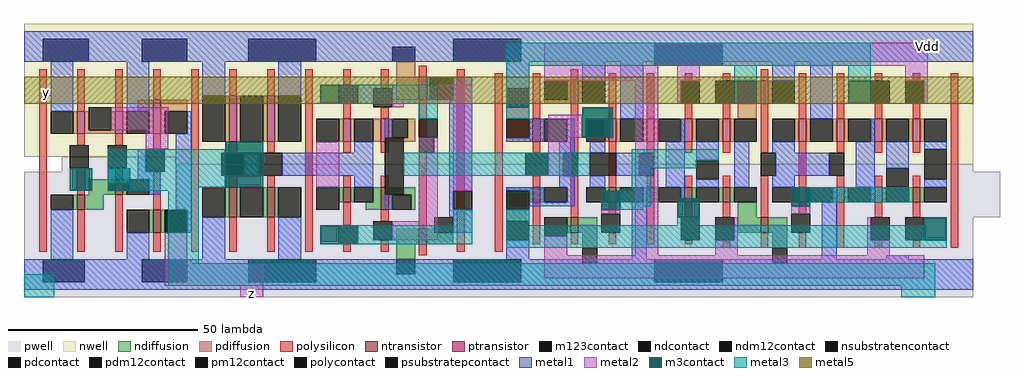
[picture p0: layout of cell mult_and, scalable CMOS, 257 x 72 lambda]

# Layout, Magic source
magic
tech scmos
<< metal1 >>
rect 247 70 487 78
rect 474 18 480 19
rect 247 10 487 18
<< ndm12contact >>
rect 284 25 290 31
<< metal2 >>
rect 284 18 290 25
rect 284 17 291 18
rect 284 11 310 17
rect 304 8 310 11
<< metal3 >>
rect 269 38 300 47
rect 275 37 300 38
rect 275 36 293 37
rect 285 17 293 36
rect 247 8 255 14
rect 285 11 487 17
rect 478 8 487 11
<< metal5 >>
rect 247 59 497 66
use and  and_0
transform 1 0 251 0 1 6
box -4 2 46 74
use inputff  inputff_0
transform -1 0 421 0 1 130
box -83 -122 134 -50
<< labels >>
rlabel metal5 253 62 253 62 1 y
rlabel metal2 307 9 307 9 1 z
rlabel metal1 485 74 485 74 7 Vdd
<< end >>

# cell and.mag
magic
tech scmos
<< nwell >>
rect -4 39 46 74
<< pwell >>
rect 6 37 36 39
rect 6 35 46 37
rect -4 2 46 35
<< ntransistor >>
rect 20 29 22 33
rect 10 25 12 29
rect 30 19 32 25
<< ptransistor >>
rect 10 45 12 51
rect 20 45 22 51
rect 30 45 32 54
<< ndiffusion >>
rect 13 29 20 33
rect 22 29 23 33
rect 9 25 10 29
rect 12 25 17 29
rect 29 19 30 25
rect 32 19 33 25
<< pdiffusion >>
rect 9 45 10 51
rect 12 46 13 51
rect 26 51 30 54
rect 19 46 20 51
rect 12 45 20 46
rect 22 45 23 51
rect 29 45 30 51
rect 32 51 39 54
rect 32 45 33 51
<< ndcontact >>
rect 23 29 29 33
rect 3 25 9 29
rect 23 19 29 25
rect 33 19 39 25
<< pdcontact >>
rect 3 45 9 51
rect 23 45 29 51
rect 33 45 39 51
<< psubstratepcontact >>
rect 1 6 12 12
rect 27 6 39 12
<< nsubstratencontact >>
rect 1 64 13 70
rect 27 64 39 70
<< polysilicon >>
rect 0 14 2 62
rect 10 51 12 62
rect 20 51 22 62
rect 30 54 32 62
rect 10 42 12 45
rect 20 42 22 45
rect 30 41 32 45
rect 10 29 12 36
rect 20 33 22 36
rect 10 14 12 25
rect 20 14 22 29
rect 30 25 32 35
rect 30 14 32 19
rect 40 14 42 62
<< metal1 >>
rect 0 70 42 72
rect 0 64 1 70
rect 13 64 27 70
rect 39 64 42 70
rect 3 51 9 64
rect 23 51 29 64
rect 39 45 40 51
rect 26 35 28 41
rect 26 33 32 35
rect 29 29 32 33
rect 36 25 40 45
rect 3 12 9 25
rect 39 19 40 25
rect 23 12 29 19
rect 0 6 1 12
rect 12 6 27 12
rect 39 6 42 12
rect 0 4 42 6
<< pm12contact >>
rect 8 36 13 42
rect 18 36 23 42
rect 28 35 33 41
<< pdm12contact >>
rect 13 46 19 52
<< metal2 >>
rect 19 46 34 52
rect 28 41 34 46
<< m3contact >>
rect 8 30 14 36
rect 18 30 24 36
<< labels >>
rlabel nsubstratencontact 3 68 3 68 4 Vdd
rlabel psubstratepcontact 3 8 3 8 2 Gnd
rlabel m3contact 11 33 11 33 1 and_a
rlabel m3contact 21 33 21 33 1 and_b
<< end >>

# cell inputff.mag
magic
tech scmos
<< nwell >>
rect -76 -87 134 -50
<< pwell >>
rect -76 -89 134 -87
rect -83 -101 134 -89
rect -76 -122 134 -101
<< ntransistor >>
rect -62 -97 -60 -93
rect -52 -97 -50 -93
rect -42 -97 -40 -93
rect -32 -97 -30 -93
rect -12 -97 -10 -93
rect -2 -97 0 -93
rect 8 -97 10 -93
rect 18 -97 20 -93
rect -22 -105 -20 -101
rect 38 -97 40 -93
rect 28 -105 30 -101
rect 78 -99 80 -93
rect 88 -97 90 -93
rect 68 -108 70 -104
rect 108 -101 110 -93
rect 118 -101 120 -93
<< ptransistor >>
rect -22 -71 -20 -65
rect -62 -81 -60 -75
rect -52 -81 -50 -75
rect -42 -81 -40 -75
rect -32 -81 -30 -75
rect 28 -71 30 -65
rect -12 -81 -10 -75
rect -2 -81 0 -75
rect 8 -81 10 -75
rect 18 -81 20 -75
rect 38 -81 40 -75
rect 68 -70 70 -64
rect 78 -81 80 -75
rect 88 -81 90 -75
rect 108 -81 110 -69
rect 118 -81 120 -69
<< ndiffusion >>
rect -63 -97 -62 -93
rect -60 -97 -59 -93
rect -53 -97 -52 -93
rect -50 -97 -49 -93
rect -43 -97 -42 -93
rect -40 -97 -39 -93
rect -33 -97 -32 -93
rect -30 -97 -29 -93
rect -13 -97 -12 -93
rect -10 -97 -9 -93
rect -3 -97 -2 -93
rect 0 -97 1 -93
rect 7 -97 8 -93
rect 10 -97 11 -93
rect 17 -97 18 -93
rect 20 -97 21 -93
rect -19 -101 -14 -97
rect -27 -105 -22 -101
rect -20 -105 -14 -101
rect -27 -109 -23 -105
rect 37 -97 38 -93
rect 40 -97 47 -93
rect 23 -105 28 -101
rect 30 -105 31 -101
rect 23 -109 27 -105
rect 41 -102 47 -97
rect 71 -95 78 -93
rect 71 -99 72 -95
rect 77 -99 78 -95
rect 80 -97 82 -93
rect 87 -97 88 -93
rect 90 -97 91 -93
rect 80 -99 84 -97
rect 66 -105 68 -104
rect 61 -108 68 -105
rect 70 -108 76 -104
rect 71 -112 76 -108
rect 107 -101 108 -93
rect 110 -101 111 -93
rect 117 -101 118 -93
rect 120 -101 121 -93
<< pdiffusion >>
rect -23 -71 -22 -65
rect -20 -71 -14 -65
rect -63 -81 -62 -75
rect -60 -81 -59 -75
rect -53 -81 -52 -75
rect -50 -81 -49 -75
rect -43 -81 -42 -75
rect -40 -81 -39 -75
rect -33 -81 -32 -75
rect -30 -81 -29 -75
rect -19 -75 -14 -71
rect 27 -71 28 -65
rect 30 -70 31 -65
rect 30 -71 37 -70
rect -13 -81 -12 -75
rect -10 -81 -9 -75
rect -3 -81 -2 -75
rect 0 -81 1 -75
rect 7 -81 8 -75
rect 10 -81 11 -75
rect 17 -81 18 -75
rect 20 -81 21 -75
rect 41 -75 47 -72
rect 37 -81 38 -75
rect 40 -81 47 -75
rect 71 -64 76 -60
rect 67 -70 68 -64
rect 70 -70 76 -64
rect 71 -80 73 -75
rect 77 -80 78 -75
rect 71 -81 78 -80
rect 80 -81 82 -75
rect 87 -81 88 -75
rect 90 -81 91 -75
rect 107 -81 108 -69
rect 110 -81 111 -69
rect 117 -81 118 -69
rect 120 -81 121 -69
<< ndcontact >>
rect -69 -97 -63 -93
rect -59 -97 -53 -93
rect -49 -97 -43 -93
rect -39 -97 -33 -93
rect -29 -97 -23 -93
rect -19 -97 -13 -93
rect -9 -97 -3 -93
rect 1 -97 7 -93
rect 11 -97 17 -93
rect 21 -97 26 -93
rect 31 -97 37 -93
rect 41 -107 47 -102
rect -27 -113 -23 -109
rect 23 -113 27 -109
rect 61 -105 66 -101
rect 72 -99 77 -95
rect 82 -97 87 -93
rect 101 -101 107 -93
rect 121 -101 127 -93
rect 71 -116 76 -112
<< pdcontact >>
rect 71 -60 77 -56
rect -29 -71 -23 -65
rect -69 -81 -63 -75
rect -59 -81 -53 -75
rect -49 -81 -43 -75
rect -39 -81 -33 -75
rect -29 -81 -23 -75
rect 21 -71 27 -65
rect -19 -81 -13 -75
rect -9 -81 -3 -75
rect 1 -81 7 -75
rect 11 -81 17 -75
rect 21 -81 26 -75
rect 41 -72 47 -67
rect 31 -81 37 -75
rect 61 -70 67 -64
rect 73 -80 77 -75
rect 82 -81 87 -75
rect 101 -81 107 -69
rect 121 -81 127 -69
<< psubstratepcontact >>
rect -10 -118 8 -112
rect 43 -118 61 -112
rect 97 -118 115 -112
<< nsubstratencontact >>
rect -10 -61 8 -55
rect 43 -60 61 -54
rect 97 -60 115 -54
<< polysilicon >>
rect -72 -109 -70 -63
rect -62 -65 -60 -63
rect -52 -65 -50 -63
rect -62 -75 -60 -71
rect -52 -75 -50 -71
rect -42 -75 -40 -63
rect -32 -75 -30 -63
rect -22 -65 -20 -62
rect -12 -65 -10 -63
rect -2 -65 0 -63
rect -62 -84 -60 -81
rect -52 -84 -50 -81
rect -42 -84 -40 -81
rect -62 -93 -60 -90
rect -52 -93 -50 -90
rect -42 -93 -40 -90
rect -32 -93 -30 -81
rect -22 -84 -20 -71
rect -12 -75 -10 -71
rect -2 -75 0 -71
rect 8 -75 10 -63
rect 18 -75 20 -63
rect 28 -65 30 -62
rect -12 -84 -10 -81
rect -2 -84 0 -81
rect 8 -84 10 -81
rect -62 -101 -60 -97
rect -52 -101 -50 -97
rect -62 -109 -60 -107
rect -52 -109 -50 -107
rect -42 -109 -40 -97
rect -32 -100 -30 -97
rect -22 -101 -20 -90
rect -12 -93 -10 -90
rect -2 -93 0 -90
rect 8 -93 10 -90
rect 18 -93 20 -81
rect 28 -84 30 -71
rect 38 -75 40 -63
rect 38 -84 40 -81
rect -12 -101 -10 -97
rect -2 -101 0 -97
rect -32 -109 -30 -105
rect -22 -109 -20 -105
rect -12 -109 -10 -107
rect -2 -108 0 -107
rect 8 -108 10 -97
rect 18 -100 20 -97
rect 28 -101 30 -90
rect 38 -93 40 -90
rect 18 -108 20 -105
rect 28 -108 30 -105
rect 38 -108 40 -97
rect 48 -110 50 -63
rect 58 -110 60 -62
rect 68 -64 70 -61
rect 78 -67 80 -62
rect 88 -66 90 -62
rect 68 -80 70 -70
rect 78 -75 80 -72
rect 88 -75 90 -71
rect 78 -84 80 -81
rect 88 -84 90 -81
rect 68 -104 70 -84
rect 78 -93 80 -90
rect 88 -93 90 -90
rect 78 -102 80 -99
rect 88 -103 90 -97
rect 68 -111 70 -108
rect 78 -110 80 -107
rect 88 -110 90 -108
rect 98 -110 100 -62
rect 108 -69 110 -62
rect 118 -69 120 -62
rect 108 -84 110 -81
rect 118 -84 120 -81
rect 108 -93 110 -90
rect 118 -93 120 -90
rect 108 -110 110 -101
rect 118 -110 120 -101
rect 128 -110 130 -62
<< polycontact >>
rect -42 -90 -38 -84
rect -24 -90 -20 -84
rect 8 -90 12 -84
rect 28 -90 32 -84
rect 66 -84 70 -80
rect 106 -90 112 -84
rect 116 -90 122 -84
<< metal1 >>
rect -76 -54 134 -52
rect -76 -55 43 -54
rect -76 -60 -10 -55
rect -39 -75 -33 -60
rect -29 -65 -23 -60
rect 8 -60 43 -55
rect 61 -56 97 -54
rect 61 -60 71 -56
rect 77 -60 97 -56
rect 115 -60 134 -54
rect 11 -75 17 -60
rect 21 -65 27 -60
rect 41 -67 47 -60
rect 56 -70 61 -64
rect 67 -70 68 -64
rect -69 -83 -63 -81
rect -69 -93 -63 -91
rect -59 -88 -53 -81
rect -50 -81 -49 -75
rect -50 -93 -45 -81
rect -29 -84 -23 -81
rect -38 -90 -24 -84
rect -29 -93 -23 -90
rect -17 -93 -13 -81
rect -50 -97 -49 -93
rect -40 -97 -39 -93
rect -9 -86 -3 -81
rect -9 -93 -3 -91
rect 0 -81 1 -75
rect 29 -81 31 -75
rect 37 -80 41 -75
rect 37 -81 47 -80
rect 0 -93 5 -81
rect 21 -84 25 -81
rect 29 -84 33 -81
rect 12 -90 18 -84
rect 32 -90 33 -84
rect 21 -93 25 -90
rect 29 -93 33 -90
rect 0 -97 1 -93
rect 10 -97 11 -93
rect 29 -97 31 -93
rect 37 -94 47 -93
rect 37 -97 41 -94
rect -40 -112 -36 -97
rect -76 -113 -27 -112
rect 10 -112 14 -97
rect 29 -98 41 -97
rect 56 -94 62 -70
rect 101 -69 107 -60
rect 121 -69 127 -60
rect 77 -80 79 -75
rect 61 -99 62 -94
rect 77 -99 79 -95
rect 82 -84 87 -81
rect 82 -90 106 -84
rect 112 -90 116 -84
rect 82 -93 87 -90
rect 56 -101 62 -99
rect 56 -105 61 -101
rect -23 -113 -10 -112
rect -76 -118 -10 -113
rect 8 -113 23 -112
rect 41 -112 47 -107
rect 101 -112 107 -101
rect 121 -112 127 -101
rect 27 -113 43 -112
rect 8 -118 43 -113
rect 61 -116 71 -112
rect 76 -116 97 -112
rect 61 -118 97 -116
rect 115 -118 134 -112
rect -76 -120 134 -118
<< pm12contact >>
rect -63 -71 -58 -65
rect -54 -71 -49 -65
rect -13 -71 -8 -65
rect -4 -71 1 -65
rect 36 -90 42 -84
rect -63 -107 -58 -101
rect -54 -107 -49 -101
rect -33 -105 -28 -100
rect -13 -107 -8 -101
rect -4 -107 1 -101
rect 77 -72 82 -67
rect 86 -71 91 -66
rect 17 -105 22 -100
rect 77 -107 82 -102
rect 86 -108 91 -103
<< pdm12contact >>
rect 31 -70 37 -65
rect 91 -81 97 -75
rect 111 -81 117 -69
<< ndm12contact >>
rect 91 -99 97 -93
rect 111 -101 117 -93
rect 31 -106 37 -101
<< metal2 >>
rect -64 -61 37 -55
rect -64 -65 -58 -61
rect -4 -65 2 -61
rect -64 -71 -63 -65
rect 1 -71 2 -65
rect 7 -65 37 -61
rect -33 -100 -28 -98
rect -49 -107 -48 -101
rect -54 -111 -48 -107
rect -14 -107 -13 -101
rect -14 -111 -8 -107
rect 7 -111 13 -65
rect 56 -71 77 -66
rect 27 -80 36 -74
rect 30 -90 36 -80
rect 56 -94 61 -71
rect 74 -72 77 -71
rect 17 -100 22 -99
rect 31 -111 37 -106
rect 65 -102 70 -80
rect 91 -93 97 -81
rect 65 -107 77 -102
rect -63 -117 37 -111
<< m3contact >>
rect -49 -71 -43 -65
rect -19 -71 -13 -65
rect -33 -98 -28 -93
rect -69 -107 -63 -101
rect -4 -101 2 -96
rect 19 -80 27 -72
rect 91 -71 96 -66
rect 17 -99 22 -94
rect 111 -93 121 -81
rect 91 -108 96 -103
<< m123contact >>
rect -69 -91 -63 -83
rect -59 -93 -53 -88
rect -9 -91 -3 -86
rect 41 -80 47 -75
rect 18 -90 25 -84
rect 41 -99 47 -94
rect 56 -99 61 -94
rect 65 -80 70 -75
rect 74 -95 79 -80
<< metal3 >>
rect -49 -61 47 -55
rect -49 -65 -43 -61
rect -19 -65 -13 -61
rect 41 -75 47 -61
rect 65 -71 91 -66
rect 65 -75 70 -71
rect -9 -86 14 -83
rect -3 -88 14 -86
rect -59 -97 -33 -93
rect 9 -94 14 -88
rect 25 -90 74 -84
rect 9 -98 17 -94
rect 11 -99 17 -98
rect -4 -103 2 -101
rect 41 -103 47 -99
rect -63 -107 47 -103
rect -69 -109 47 -107
rect 56 -103 61 -99
rect 56 -108 91 -103
<< labels >>
rlabel m123contact -6 -88 -6 -88 1 transm23_out
rlabel metal1 -56 -86 -56 -86 1 transm01_out
rlabel pdm12contact 34 -68 34 -68 1 _clk
rlabel m3contact 23 -73 23 -73 1 clk
rlabel metal1 -71 -56 -71 -56 4 Vdd
rlabel metal1 -72 -115 -72 -115 2 Gnd
rlabel metal1 31 -92 31 -92 1 _nclk
rlabel metal3 48 -87 48 -87 1 nq
rlabel m123contact -66 -87 -66 -87 1 d
rlabel metal1 84 -88 84 -88 1 mux_out
rlabel metal1 82 -116 82 -116 1 Gnd
rlabel metal1 118 -56 118 -56 7 Vdd
rlabel m123contact 67 -78 67 -78 1 enable
rlabel m3contact 115 -88 115 -88 1 Q
rlabel m123contact 76 -87 76 -87 1 in_1
rlabel metal2 94 -86 94 -86 1 in_0
<< end >>
